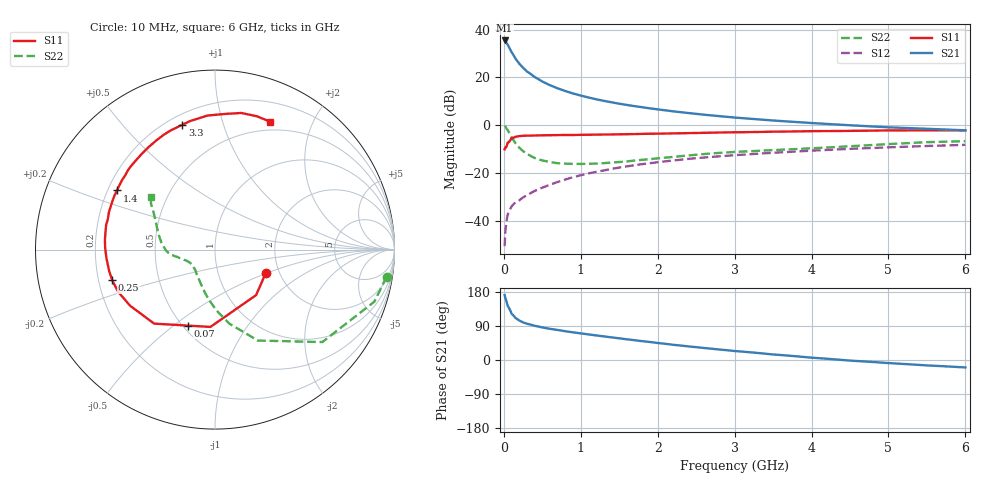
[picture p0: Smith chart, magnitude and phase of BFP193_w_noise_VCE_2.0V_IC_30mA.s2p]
! Infineon Technologies  Discrete & RF Semiconductors
! BFP193
! VCE =  2.0 V,  IC =  30 mA
! Common Emitter S-Parameters:  Jan 2017
# GHz  S  MA  R  50
!  f  S11  S21  S12  S22
! GHz  MAG  ANG  MAG  ANG  MAG  ANG  MAG  ANG
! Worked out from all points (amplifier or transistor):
!   77 points, 10 MHz to 6 GHz, reference 50 ohm
!   highest |S21| = 35.5 dB at 10 MHz (marker M1)
!   |S21| within 3 dB of that: start of sweep to 70.3 MHz
!   unconditionally stable (mu >= 1): 659.5 MHz to 2.565 GHz
!   at 130 MHz: K = 0.51, MSG = 31.1 dB, |S12| = -33.0 dB
!   at 2.2 GHz: K = 1.02, MAG = 9.5 dB, |S12| = -14.8 dB
!   at 6 GHz: K = 0.94, MSG = 3.0 dB, |S12| = -8.3 dB
!   lowest NFmin = 1.22 dB at 450 MHz
!   S11 on the Smith chart (normalised r, x): 10 MHz: 1.69, -0.50; 70 MHz: 0.53, -0.56; 250 MHz: 0.26, -0.14; 1.4 GHz: 0.24, +0.26; 3.3 GHz: 0.26, +0.74; 6 GHz: 0.40, +1.44
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0.01  0.3117 -25.2  59.6 171.5  0.0029 81.4  0.9679 -9.0
0.02  0.3416 -47.9  58.84 163.4  0.006 80.5  0.934 -18.1
0.05  0.4316 -93.4  48.73 142.8  0.0134 65.0  0.7896 -40.7
0.07  0.4496 -109.6  42.29 136.3  0.0159 60.3  0.6845 -48.4
0.1  0.5338 -129.4  34.12 122.2  0.0197 55.6  0.5602 -64.8
0.15  0.5672 -146.6  25.02 111.2  0.024 52.5  0.4202 -79.0
0.2  0.5886 -156.5  19.52 104.3  0.0265 55.0  0.3378 -88.8
0.25  0.5976 -163.4  15.91 99.2  0.0305 55.9  0.2844 -96.3
0.3  0.6014 -168.3  13.39 95.8  0.034 57.2  0.2486 -102.8
0.4  0.6065 -175.2  10.21 90.2  0.0415 60.2  0.2051 -112.8
0.5  0.612 179.2  8.203 85.9  0.0488 61.9  0.1818 -120.9
0.6  0.6158 174.8  6.879 82.3  0.0565 63.1  0.1684 -127.9
0.7  0.6179 171.0  5.908 79.2  0.0644 64.4  0.1591 -133.5
0.9  0.621 163.9  4.605 73.0  0.081 63.7  0.1541 -141.9
1.1  0.6285 157.8  3.801 67.6  0.0972 62.7  0.1546 -148.3
1.4  0.6377 148.9  3.013 59.7  0.1211 60.1  0.164 -156.2
2.1  0.6665 130.0  2.042 42.7  0.1741 52.0  0.2084 -167.9
3.1  0.7113 108.4  1.402 22.1  0.2398 39.3  0.2789 179.0
3.3  0.7188 104.7  1.324 18.6  0.2514 37.0  0.289 175.9
4.1  0.749 91.7  1.084 4.8  0.2967 27.6  0.3334 162.6
5.1  0.775 77.8  0.887 -9.3  0.3469 16.1  0.4079 147.8
6  0.776 66.7  0.779 -19.6  0.3861 6.1  0.4609 140.5
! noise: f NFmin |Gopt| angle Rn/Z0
0.45  1.22  0.33  -174  0.08
0.9  1.27  0.38  -173  0.07
1.9  1.89  0.57  -137  0.17
2.4  2.22  0.62  -121  0.38
